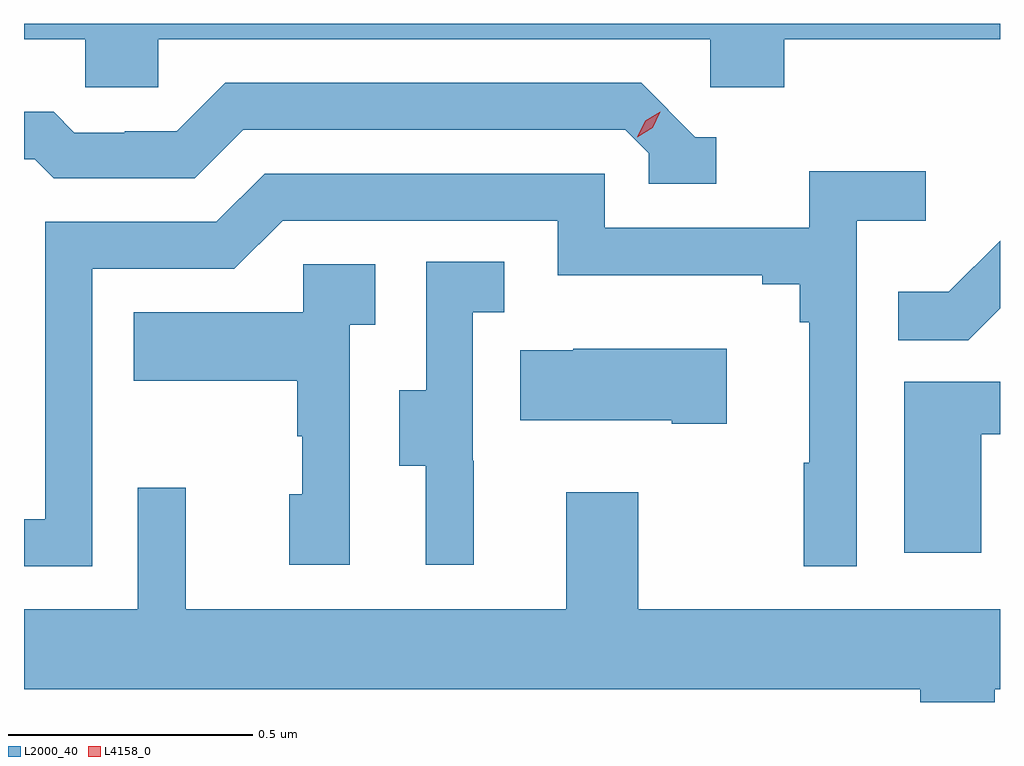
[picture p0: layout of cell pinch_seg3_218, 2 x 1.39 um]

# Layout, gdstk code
import gdstk
lib = gdstk.Library(unit=1e-6, precision=1e-09)
def P(c, l, *ps):  # polygons
    for p in ps: c.add(gdstk.Polygon(p, *l))
L2000_40 = (2000, 40)
L4158_0 = (4158, 0)

pinch_seg3_218 = lib.new_cell('pinch_seg3_218')
P(pinch_seg3_218, L2000_40, [(948.585,748.868),(949.716,748.868),(949.716,748.77),(949.868,748.77),(949.868,748.868),(950.31,748.868),(950.31,748.9),(948.31,748.9),(948.31,748.868),(948.435,748.868),(948.435,748.77),(948.585,748.77)],
  [(949.729,748.668),(949.686,748.668),(949.575,748.779),(948.722,748.779),(948.623,748.68),(948.516,748.68),(948.516,748.677),(948.413,748.677),(948.371,748.72),(948.31,748.72),(948.31,748.623),(948.332,748.623),(948.371,748.584),(948.66,748.584),(948.759,748.683),(949.542,748.683),(949.59,748.635),(949.59,748.572),(949.729,748.572)],
  [(948.45,748.398),(948.741,748.398),(948.84,748.497),(949.404,748.497),(949.404,748.385),(949.823,748.385),(949.823,748.366),(949.9,748.366),(949.9,748.289),(949.919,748.289),(949.919,748.001),(949.908,748.001),(949.908,747.789),(950.016,747.789),(950.016,748.496),(950.158,748.496),(950.158,748.598),(949.919,748.598),(949.919,748.482),(949.5,748.482),(949.5,748.593),(948.803,748.593),(948.704,748.494),(948.354,748.494),(948.354,747.885),(948.31,747.885),(948.31,747.789),(948.45,747.789)],
  [(950.31,748.317),(950.31,748.456),(950.205,748.351),(950.101,748.351),(950.101,748.252),(950.245,748.252)],
  [(949.232,748.005),(949.23,748.005),(949.23,748.309),(949.294,748.309),(949.294,748.412),(949.134,748.412),(949.134,748.149),(949.079,748.149),(949.079,747.994),(949.133,747.994),(949.133,747.792),(949.232,747.792)],
  [(948.978,748.283),(949.03,748.283),(949.03,748.407),(948.882,748.407),(948.882,748.309),(948.535,748.309),(948.535,748.169),(948.87,748.169),(948.87,748.055),(948.88,748.055),(948.88,747.936),(948.854,747.936),(948.854,747.792),(948.978,747.792)],
  [(949.75,748.234),(949.435,748.234),(949.435,748.231),(949.327,748.231),(949.327,748.088),(949.637,748.088),(949.637,748.081),(949.75,748.081)],
  [(950.272,748.059),(950.31,748.059),(950.31,748.167),(950.114,748.167),(950.114,747.816),(950.272,747.816)],
  [(950.299,747.536),(950.31,747.536),(950.31,747.7),(949.569,747.7),(949.569,747.94),(949.421,747.94),(949.421,747.7),(948.641,747.7),(948.641,747.949),(948.543,747.949),(948.543,747.7),(948.31,747.7),(948.31,747.536),(950.147,747.536),(950.147,747.51),(950.299,747.51)])
P(pinch_seg3_218, L4158_0, [(949.567,748.668),(949.567,748.668),(949.583,748.701),(949.614,748.72),(949.614,748.72),(949.614,748.72),(949.598,748.687),(949.567,748.668)])

lib.write_gds('pinch_seg3_218.gds')
